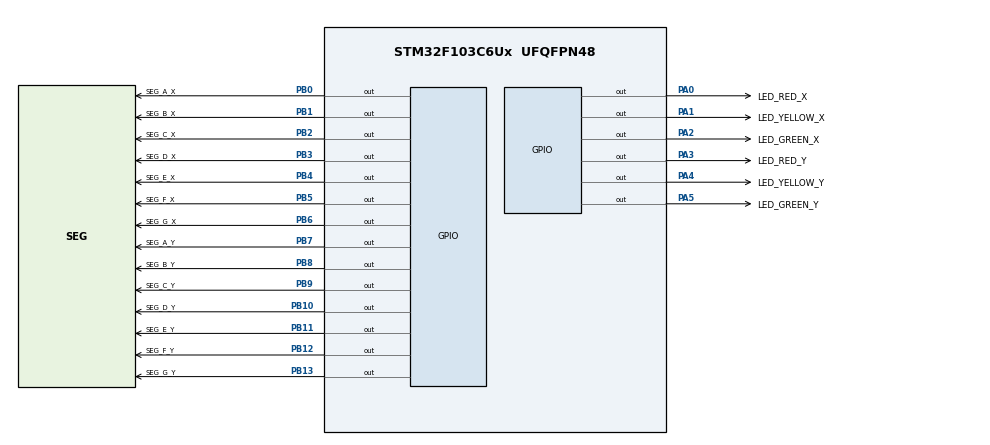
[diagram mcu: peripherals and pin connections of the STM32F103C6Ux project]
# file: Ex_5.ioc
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Mcu.Family=STM32F1
Mcu.Name=STM32F103C6Ux
Mcu.Package=UFQFPN48
NVIC.PriorityGroup=NVIC_PRIORITYGROUP_4
PA0-WKUP.GPIO_Label=LED_RED_X
PA0-WKUP.Signal=GPIO_Output
PA1.GPIO_Label=LED_YELLOW_X
PA1.Signal=GPIO_Output
PA2.GPIO_Label=LED_GREEN_X
PA2.Signal=GPIO_Output
PA3.GPIO_Label=LED_RED_Y
PA3.Signal=GPIO_Output
PA4.GPIO_Label=LED_YELLOW_Y
PA4.Signal=GPIO_Output
PA5.GPIO_Label=LED_GREEN_Y
PA5.Signal=GPIO_Output
PB0.GPIO_Label=SEG_A_X
PB0.Signal=GPIO_Output
PB1.GPIO_Label=SEG_B_X
PB1.Signal=GPIO_Output
PB10.GPIO_Label=SEG_D_Y
PB10.Signal=GPIO_Output
PB11.GPIO_Label=SEG_E_Y
PB11.Signal=GPIO_Output
PB12.GPIO_Label=SEG_F_Y
PB12.Signal=GPIO_Output
PB13.GPIO_Label=SEG_G_Y
PB13.Signal=GPIO_Output
PB2.GPIO_Label=SEG_C_X
PB2.Signal=GPIO_Output
PB3.GPIO_Label=SEG_D_X
PB3.Signal=GPIO_Output
PB4.GPIO_Label=SEG_E_X
PB4.Signal=GPIO_Output
PB5.GPIO_Label=SEG_F_X
PB5.Signal=GPIO_Output
PB6.GPIO_Label=SEG_G_X
PB6.Signal=GPIO_Output
PB7.GPIO_Label=SEG_A_Y
PB7.Signal=GPIO_Output
PB8.GPIO_Label=SEG_B_Y
PB8.Signal=GPIO_Output
PB9.GPIO_Label=SEG_C_Y
PB9.Signal=GPIO_Output
ProjectManager.HeapSize=0x200
ProjectManager.StackSize=0x400
ProjectManager.TargetToolchain=STM32CubeIDE
RCC.APB1Freq_Value=8000000
RCC.APB2Freq_Value=8000000
VP_SYS_VS_ND.Mode=No_Debug
board=custom

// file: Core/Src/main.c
/* USER CODE BEGIN Header */
/**
  ******************************************************************************
  * @file           : main.c
  * @brief          : Main program body
  ******************************************************************************
  * @attention
  *
  * <h2><center>&copy; Copyright (c) 2023 STMicroelectronics.
  * All rights reserved.</center></h2>
  *
  * This software component is licensed by ST under BSD 3-Clause license,
  * the "License"; You may not use this file except in compliance with the
  * License. You may obtain a copy of the License at:
  *                        opensource.org/licenses/BSD-3-Clause
  *
  ******************************************************************************
  */
/* USER CODE END Header */
#include "main.h"

/* USER CODE BEGIN PV */
GPIO_PinState seven_segment[10][7] = {
  {GPIO_PIN_RESET, GPIO_PIN_RESET, GPIO_PIN_RESET, GPIO_PIN_RESET, GPIO_PIN_RESET, GPIO_PIN_RESET, GPIO_PIN_SET  },
  {GPIO_PIN_SET  , GPIO_PIN_RESET, GPIO_PIN_RESET, GPIO_PIN_SET  , GPIO_PIN_SET  , GPIO_PIN_SET  , GPIO_PIN_SET  },
  {GPIO_PIN_RESET, GPIO_PIN_RESET, GPIO_PIN_SET  , GPIO_PIN_RESET, GPIO_PIN_RESET, GPIO_PIN_SET  , GPIO_PIN_RESET},
  {GPIO_PIN_RESET, GPIO_PIN_RESET, GPIO_PIN_RESET, GPIO_PIN_RESET, GPIO_PIN_SET  , GPIO_PIN_SET  , GPIO_PIN_RESET},
  {GPIO_PIN_SET  , GPIO_PIN_RESET, GPIO_PIN_RESET, GPIO_PIN_SET  , GPIO_PIN_SET  , GPIO_PIN_RESET, GPIO_PIN_RESET},
  {GPIO_PIN_RESET, GPIO_PIN_SET  , GPIO_PIN_RESET, GPIO_PIN_RESET, GPIO_PIN_SET  , GPIO_PIN_RESET, GPIO_PIN_RESET},
  {GPIO_PIN_RESET, GPIO_PIN_SET  , GPIO_PIN_RESET, GPIO_PIN_RESET, GPIO_PIN_RESET, GPIO_PIN_RESET, GPIO_PIN_RESET},
  {GPIO_PIN_RESET, GPIO_PIN_RESET, GPIO_PIN_RESET, GPIO_PIN_SET  , GPIO_PIN_SET  , GPIO_PIN_SET  , GPIO_PIN_SET  },
  {GPIO_PIN_RESET, GPIO_PIN_RESET, GPIO_PIN_RESET, GPIO_PIN_RESET, GPIO_PIN_RESET, GPIO_PIN_RESET, GPIO_PIN_RESET},
  {GPIO_PIN_RESET, GPIO_PIN_RESET, GPIO_PIN_RESET, GPIO_PIN_RESET, GPIO_PIN_SET  , GPIO_PIN_RESET, GPIO_PIN_RESET},
};
/* USER CODE END PV */

void SystemClock_Config(void);
static void MX_GPIO_Init(void);
/* USER CODE BEGIN PFP */
void display7SEGX(int counter);
void display7SEGY(int counter);
/* USER CODE END PFP */

int main(void)
{

  /* MCU Configuration--------------------------------------------------------*/

  /* Reset of all peripherals, Initializes the Flash interface and the Systick. */
  HAL_Init();

  /* Configure the system clock */
  SystemClock_Config();

  /* Initialize all configured peripherals */
  MX_GPIO_Init();
  /* USER CODE BEGIN 2 */
  int red_time = 5;
  int yellow_time = 2;
  int green_time = red_time - yellow_time;

  int state = 0; // (x-y) 0:r-g, 1:r-y, 2:g-r, 3:y-r
  int count = green_time;

  HAL_GPIO_WritePin(LED_RED_X_GPIO_Port, LED_RED_X_Pin, GPIO_PIN_RESET);
  HAL_GPIO_WritePin(LED_YELLOW_X_GPIO_Port, LED_YELLOW_X_Pin, GPIO_PIN_SET);
  HAL_GPIO_WritePin(LED_GREEN_X_GPIO_Port, LED_GREEN_X_Pin, GPIO_PIN_SET);

  HAL_GPIO_WritePin(LED_RED_Y_GPIO_Port, LED_RED_Y_Pin, GPIO_PIN_SET);
  HAL_GPIO_WritePin(LED_YELLOW_Y_GPIO_Port, LED_YELLOW_Y_Pin, GPIO_PIN_SET);
  HAL_GPIO_WritePin(LED_GREEN_Y_GPIO_Port, LED_GREEN_Y_Pin, GPIO_PIN_RESET);
  /* USER CODE END 2 */

  /* Infinite loop */
  /* USER CODE BEGIN WHILE */
  while (1)
  {
	if(count <= 0){
	  switch (state) {
		case 0:
		  HAL_GPIO_WritePin(LED_YELLOW_Y_GPIO_Port, LED_YELLOW_Y_Pin, GPIO_PIN_RESET);
		  HAL_GPIO_WritePin(LED_GREEN_Y_GPIO_Port, LED_GREEN_Y_Pin, GPIO_PIN_SET);
		  state = 1;
		  count = yellow_time;
		  break;
		case 1:
		  HAL_GPIO_WritePin(LED_RED_X_GPIO_Port, LED_RED_X_Pin, GPIO_PIN_SET);
		  HAL_GPIO_WritePin(LED_GREEN_X_GPIO_Port, LED_GREEN_X_Pin, GPIO_PIN_RESET);
		  HAL_GPIO_WritePin(LED_RED_Y_GPIO_Port, LED_RED_Y_Pin, GPIO_PIN_RESET);
		  HAL_GPIO_WritePin(LED_YELLOW_Y_GPIO_Port, LED_YELLOW_Y_Pin, GPIO_PIN_SET);
		  state = 2;
		  count = green_time;
		  break;
		case 2:
		  HAL_GPIO_WritePin(LED_YELLOW_X_GPIO_Port, LED_YELLOW_X_Pin, GPIO_PIN_RESET);
		  HAL_GPIO_WritePin(LED_GREEN_X_GPIO_Port, LED_GREEN_X_Pin, GPIO_PIN_SET);
		  state = 3;
		  count = yellow_time;
		  break;
		case 3:
		  HAL_GPIO_WritePin(LED_RED_X_GPIO_Port, LED_RED_X_Pin, GPIO_PIN_RESET);
		  HAL_GPIO_WritePin(LED_YELLOW_X_GPIO_Port, LED_YELLOW_X_Pin, GPIO_PIN_SET);
		  HAL_GPIO_WritePin(LED_RED_Y_GPIO_Port, LED_RED_Y_Pin, GPIO_PIN_SET);
		  HAL_GPIO_WritePin(LED_GREEN_Y_GPIO_Port, LED_GREEN_Y_Pin, GPIO_PIN_RESET);
		  state = 0;
		  count = green_time;
		  break;
		default:
		  state = 0;
		  count = green_time;
		  break;
	  }
	}
    switch (state) {
	  case 0:
		display7SEGX(count - 1 + yellow_time);
		display7SEGY(count - 1);
		break;
	  case 1:
	    display7SEGX(count - 1);
		display7SEGY(count - 1);
	  	break;
	  case 2:
		display7SEGX(count - 1);
		display7SEGY(count - 1 + yellow_time);
	  	break;
	  case 3:
		display7SEGX(count - 1);
		display7SEGY(count - 1);
	  	break;
	  default:
		break;
	}
	--count;
	HAL_Delay(1000);
    /* USER CODE END WHILE */

  }
}

void SystemClock_Config(void)
{
  RCC_OscInitTypeDef RCC_OscInitStruct = {0};
  RCC_ClkInitTypeDef RCC_ClkInitStruct = {0};

  /** Initializes the RCC Oscillators according to the specified parameters
  * in the RCC_OscInitTypeDef structure.
  */
  RCC_OscInitStruct.OscillatorType = RCC_OSCILLATORTYPE_HSI;
  RCC_OscInitStruct.HSIState = RCC_HSI_ON;
  RCC_OscInitStruct.HSICalibrationValue = RCC_HSICALIBRATION_DEFAULT;
  RCC_OscInitStruct.PLL.PLLState = RCC_PLL_NONE;
  if (HAL_RCC_OscConfig(&RCC_OscInitStruct) != HAL_OK)
  {
    Error_Handler();
  }
  /** Initializes the CPU, AHB and APB buses clocks
  */
  RCC_ClkInitStruct.ClockType = RCC_CLOCKTYPE_HCLK|RCC_CLOCKTYPE_SYSCLK
                              |RCC_CLOCKTYPE_PCLK1|RCC_CLOCKTYPE_PCLK2;
  RCC_ClkInitStruct.SYSCLKSource = RCC_SYSCLKSOURCE_HSI;
  RCC_ClkInitStruct.AHBCLKDivider = RCC_SYSCLK_DIV1;
  RCC_ClkInitStruct.APB1CLKDivider = RCC_HCLK_DIV1;
  RCC_ClkInitStruct.APB2CLKDivider = RCC_HCLK_DIV1;

  if (HAL_RCC_ClockConfig(&RCC_ClkInitStruct, FLASH_LATENCY_0) != HAL_OK)
  {
    Error_Handler();
  }
}

static void MX_GPIO_Init(void)
{
  GPIO_InitTypeDef GPIO_InitStruct = {0};

  /* GPIO Ports Clock Enable */
  __HAL_RCC_GPIOA_CLK_ENABLE();
  __HAL_RCC_GPIOB_CLK_ENABLE();

  /*Configure GPIO pin Output Level */
  HAL_GPIO_WritePin(GPIOA, LED_RED_X_Pin|LED_YELLOW_X_Pin|LED_GREEN_X_Pin|LED_RED_Y_Pin
                          |LED_YELLOW_Y_Pin|LED_GREEN_Y_Pin, GPIO_PIN_RESET);

  /*Configure GPIO pin Output Level */
  HAL_GPIO_WritePin(GPIOB, SEG_A_X_Pin|SEG_B_X_Pin|SEG_C_X_Pin|SEG_D_Y_Pin
                          |SEG_E_Y_Pin|SEG_F_Y_Pin|SEG_G_Y_Pin|SEG_D_X_Pin
                          |SEG_E_X_Pin|SEG_F_X_Pin|SEG_G_X_Pin|SEG_A_Y_Pin
                          |SEG_B_Y_Pin|SEG_C_Y_Pin, GPIO_PIN_RESET);

  /*Configure GPIO pins : LED_RED_X_Pin LED_YELLOW_X_Pin LED_GREEN_X_Pin LED_RED_Y_Pin
                           LED_YELLOW_Y_Pin LED_GREEN_Y_Pin */
  GPIO_InitStruct.Pin = LED_RED_X_Pin|LED_YELLOW_X_Pin|LED_GREEN_X_Pin|LED_RED_Y_Pin
                          |LED_YELLOW_Y_Pin|LED_GREEN_Y_Pin;
  GPIO_InitStruct.Mode = GPIO_MODE_OUTPUT_PP;
  GPIO_InitStruct.Pull = GPIO_NOPULL;
  GPIO_InitStruct.Speed = GPIO_SPEED_FREQ_LOW;
  HAL_GPIO_Init(GPIOA, &GPIO_InitStruct);

  /*Configure GPIO pins : SEG_A_X_Pin SEG_B_X_Pin SEG_C_X_Pin SEG_D_Y_Pin
                           SEG_E_Y_Pin SEG_F_Y_Pin SEG_G_Y_Pin SEG_D_X_Pin
                           SEG_E_X_Pin SEG_F_X_Pin SEG_G_X_Pin SEG_A_Y_Pin
                           SEG_B_Y_Pin SEG_C_Y_Pin */
  GPIO_InitStruct.Pin = SEG_A_X_Pin|SEG_B_X_Pin|SEG_C_X_Pin|SEG_D_Y_Pin
                          |SEG_E_Y_Pin|SEG_F_Y_Pin|SEG_G_Y_Pin|SEG_D_X_Pin
                          |SEG_E_X_Pin|SEG_F_X_Pin|SEG_G_X_Pin|SEG_A_Y_Pin
                          |SEG_B_Y_Pin|SEG_C_Y_Pin;
  GPIO_InitStruct.Mode = GPIO_MODE_OUTPUT_PP;
  GPIO_InitStruct.Pull = GPIO_NOPULL;
  GPIO_InitStruct.Speed = GPIO_SPEED_FREQ_LOW;
  HAL_GPIO_Init(GPIOB, &GPIO_InitStruct);

}

/* USER CODE BEGIN 4 */
void display7SEGX(int number){
  if(number >= 0 && number <= 9){
	HAL_GPIO_WritePin(SEG_A_X_GPIO_Port, SEG_A_X_Pin, seven_segment[number][0]);
	HAL_GPIO_WritePin(SEG_B_X_GPIO_Port, SEG_B_X_Pin, seven_segment[number][1]);
	HAL_GPIO_WritePin(SEG_C_X_GPIO_Port, SEG_C_X_Pin, seven_segment[number][2]);
	HAL_GPIO_WritePin(SEG_D_X_GPIO_Port, SEG_D_X_Pin, seven_segment[number][3]);
	HAL_GPIO_WritePin(SEG_E_X_GPIO_Port, SEG_E_X_Pin, seven_segment[number][4]);
	HAL_GPIO_WritePin(SEG_F_X_GPIO_Port, SEG_F_X_Pin, seven_segment[number][5]);
	HAL_GPIO_WritePin(SEG_G_X_GPIO_Port, SEG_G_X_Pin, seven_segment[number][6]);
  }
}
void display7SEGY(int number){
  if(number >= 0 && number <= 9){
	HAL_GPIO_WritePin(SEG_A_Y_GPIO_Port, SEG_A_Y_Pin, seven_segment[number][0]);
	HAL_GPIO_WritePin(SEG_B_Y_GPIO_Port, SEG_B_Y_Pin, seven_segment[number][1]);
	HAL_GPIO_WritePin(SEG_C_Y_GPIO_Port, SEG_C_Y_Pin, seven_segment[number][2]);
	HAL_GPIO_WritePin(SEG_D_Y_GPIO_Port, SEG_D_Y_Pin, seven_segment[number][3]);
	HAL_GPIO_WritePin(SEG_E_Y_GPIO_Port, SEG_E_Y_Pin, seven_segment[number][4]);
	HAL_GPIO_WritePin(SEG_F_Y_GPIO_Port, SEG_F_Y_Pin, seven_segment[number][5]);
	HAL_GPIO_WritePin(SEG_G_Y_GPIO_Port, SEG_G_Y_Pin, seven_segment[number][6]);
  }
}
/* USER CODE END 4 */

void Error_Handler(void)
{
  __disable_irq();
  while (1)
  {
  }
}

/************************ (C) COPYRIGHT STMicroelectronics *****END OF FILE****/
